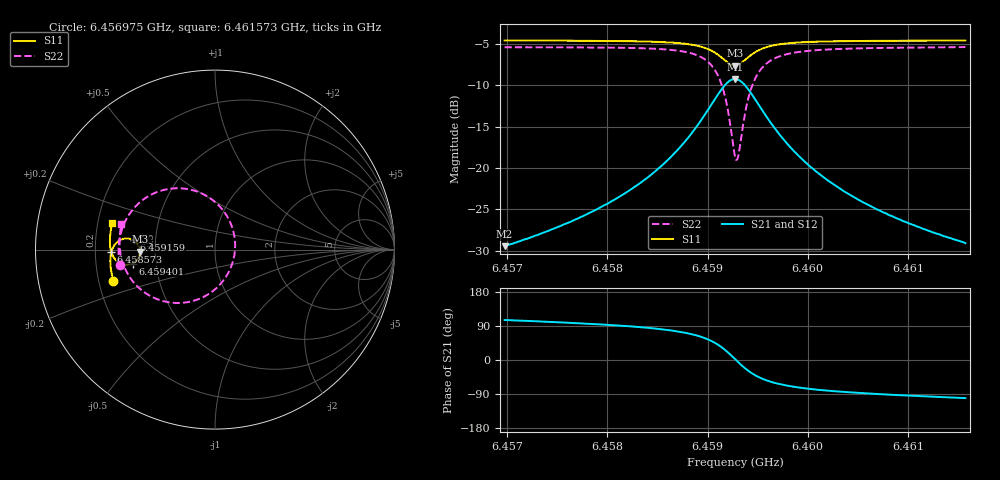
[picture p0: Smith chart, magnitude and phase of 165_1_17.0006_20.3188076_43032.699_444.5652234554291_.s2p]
#  HZ  S  RI  R  50.00
! Rohde & Schwarz Vector Network Analyzer
! Rohde-Schwarz,ZNB20-2Port,1311601062101988,3.16
! Created: UTC 3/20/2024, 10:59:24 PM
! freq[Hz]  re:S11  im:S11  re:S21  im:S21  re:S12  im:S12  re:S22  im:S22
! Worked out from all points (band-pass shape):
!   401 points, 6.456975 GHz to 6.461573 GHz, reference 50 ohm
!   highest |S21| = -9.22 dB at 6.459274 GHz (marker M1); lowest = -29.5 dB at 6.456975 GHz (marker M2)
!   |S21| within 3 dB of the highest: 6.459044 GHz to 6.459504 GHz (459.5 kHz wide, 0.00711 % of centre)
!   lowest |S11| = -7.6 dB at 6.459274 GHz (marker M3), VSWR 2.43, Z = 20.6 - j0.588 ohm
!   |S11| at or under -10 dB: nowhere
!   |S22| runs from -19.0 to -5.4 dB; largest |S21 - S12| = 0.013
!   S11 on the Smith chart (normalised r, x): 6.456975 GHz: 0.26, -0.14; 6.458573 GHz: 0.27, -0.01; 6.459159 GHz: 0.37, +0.05; 6.459401 GHz: 0.37, -0.07; 6.461573 GHz: 0.26, +0.12
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6.4569753e9  -0.566 -0.1737  -0.00896 0.0324  -0.00728 0.0324  -0.5316 -0.0866
6.4577454e9  -0.5803 -0.1063  -0.0059 0.0504  -0.00329 0.0499  -0.5371 0.00366
6.4581593e9  -0.5834 -0.065  -6.24e-05 0.0692  0.00322 0.068  -0.5298 0.0689
6.4585156e9  -0.5796 -0.0224  0.0139 0.0989  0.0179 0.0961  -0.5043 0.1488
6.4585731e9  -0.5778 -0.0146  0.0183 0.1059  0.0223 0.1027  -0.4961 0.1652
6.45878e9  -0.5648 0.0178  0.0457 0.1383  0.0498 0.1335  -0.4449 0.2383
6.4589294e9  -0.5422 0.0441  0.0908 0.1691  0.0941 0.1624  -0.3616 0.3031
6.4590674e9  -0.4983 0.0618  0.1782 0.1859  0.1793 0.1784  -0.2022 0.342
6.4591593e9  -0.4535 0.0516  0.2684 0.1546  0.2687 0.1488  -0.0355 0.2918
6.4592283e9  -0.4242 0.0193  0.3292 0.0827  0.3312 0.0774  0.0801 0.1623
6.4592743e9  -0.4173 -0.0118  0.3457 0.0146  0.3492 0.00784  0.1122 0.0354
6.4592858e9  -0.4179 -0.0198  0.3454 -0.00323  0.3493 -0.0107  0.1117 0.00186
6.4593087e9  -0.4213 -0.0355  0.3397 -0.0379  0.3436 -0.047  0.1006 -0.064
6.4593547e9  -0.4369 -0.0617  0.3112 -0.0977  0.3134 -0.1096  0.043 -0.1769
6.4594007e9  -0.4591 -0.078  0.2692 -0.1387  0.2683 -0.1521  -0.042 -0.2516
6.4594927e9  -0.5026 -0.0849  0.1845 -0.1701  0.1784 -0.1815  -0.2103 -0.2975
6.4596421e9  -0.5465 -0.0645  0.0966 -0.1563  0.0883 -0.1624  -0.3776 -0.2485
6.459803e9  -0.5681 -0.0369  0.0517 -0.1285  0.0441 -0.1313  -0.458 -0.1767
6.4600444e9  -0.5809 -0.00133  0.0226 -0.097  0.0167 -0.0977  -0.5059 -0.0946
6.4603893e9  -0.5855 0.0396  0.00649 -0.0703  0.00246 -0.0699  -0.5276 -0.0157
6.4608146e9  -0.5836 0.0825  -0.00126 -0.0517  -0.00406 -0.051  -0.532 0.0524
6.4615732e9  -0.5719 0.1496  -0.00643 -0.0345  -0.00804 -0.0336  -0.5211 0.1419
